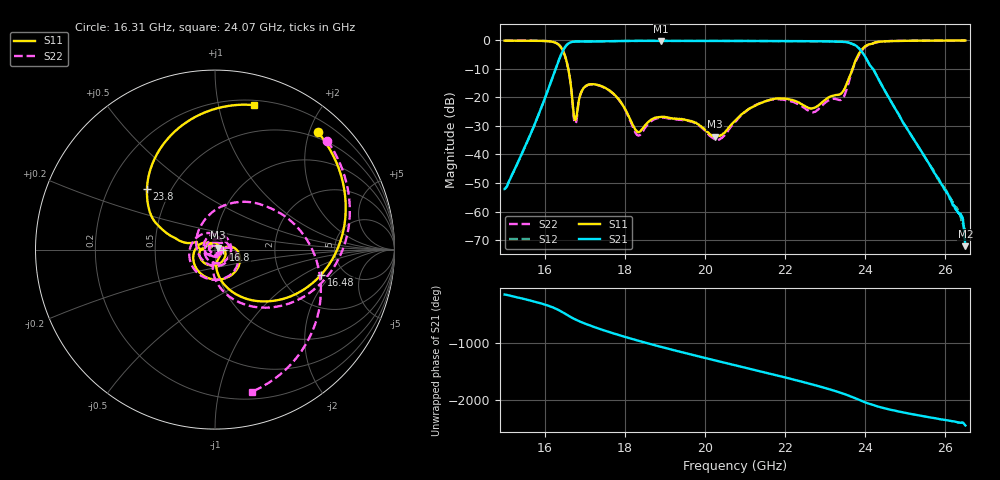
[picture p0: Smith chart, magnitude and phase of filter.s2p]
# Hz S  dB  R 50
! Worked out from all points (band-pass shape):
!   2301 points, 15 GHz to 26.5 GHz, reference 50 ohm
!   highest |S21| = -0.26 dB at 18.91 GHz (marker M1); lowest = -72.1 dB at 26.5 GHz (marker M2)
!   |S21| within 3 dB of the highest: 16.47 GHz to 23.87 GHz (7.397 GHz wide, 36.7 % of centre)
!   lowest |S11| = -33.8 dB at 20.25 GHz (marker M3), VSWR 1.04, Z = 51.8 + j1.1 ohm
!   |S11| at or under -10 dB: 16.59 GHz to 23.69 GHz (7.098 GHz wide, 35.2 % of centre)
!   |S22| runs from -35.0 to -0.1 dB; largest |S21 - S12| = 0.011
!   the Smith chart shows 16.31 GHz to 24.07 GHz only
!   S11 on the Smith chart (normalised r, x): 16.31 GHz: 0.39, +2.14; 16.48 GHz: 3.40, -1.50; 16.8 GHz: 1.10, -0.00; 23.8 GHz: 0.37, +0.34; 24.07 GHz: 0.24, +1.28
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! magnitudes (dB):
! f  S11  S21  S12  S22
! 15 GHz  -0.2  -52.1  -51.9  -0.2
! 16.31 GHz  -1.2  -8.6  -8.6  -1.2
! 16.48 GHz  -4.3  -3.2  -3.2  -4.3
! 16.61 GHz  -11.7  -1.0  -1.0  -11.6
! 16.74 GHz  -27.2  -0.5  -0.5  -28.4
! 16.8 GHz  -26.7  -0.5  -0.5  -28.1
! 16.92 GHz  -18.0  -0.5  -0.5  -18.1
! 17.63 GHz  -17.8  -0.4  -0.4  -17.9
! 18.33 GHz  -32.2  -0.3  -0.3  -33.4
! 18.84 GHz  -27.0  -0.3  -0.3  -27.2
! 18.91 GHz  -26.9  -0.3  -0.3  -27.2
! 19.71 GHz  -28.6  -0.3  -0.3  -28.7
! 20.25 GHz  -33.8  -0.3  -0.3  -34.7
! 20.75 GHz  -28.3  -0.3  -0.3  -28.7
! 21.68 GHz  -20.7  -0.3  -0.4  -20.8
! 22.67 GHz  -23.9  -0.4  -0.4  -25.2
! 23.43 GHz  -18.2  -0.6  -0.6  -20.5
! 23.8 GHz  -5.9  -2.3  -2.3  -6.4
! 24.07 GHz  -1.6  -7.7  -7.7  -1.7
! 24.59 GHz  -0.4  -20.1  -20.1  -0.3
! 26.39 GHz  -0.2  -61.0  -61.9  -0.2
! 26.5 GHz  -0.1  -72.1  -67.1  -0.1
